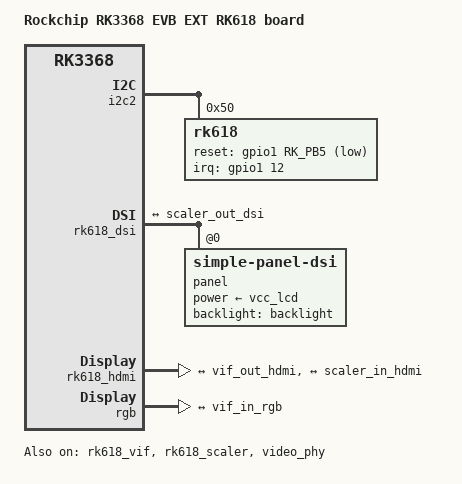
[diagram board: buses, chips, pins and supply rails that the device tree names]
// SPDX-License-Identifier: (GPL-2.0+ OR MIT)
/*
 * Copyright (c) 2019 Fuzhou Rockchip Electronics Co., Ltd
 */

/dts-v1/;
#include "rk3368-808.dtsi"

/ {
	model = "Rockchip RK3368 EVB EXT RK618 board";
	compatible = "rockchip,rk3368-evb-ext-rk618-avb", "rockchip,rk3368";
};

&firmware_android {
	compatible = "android,firmware";
	boot_devices = "ff0f0000.dwmmc,ff400000.nandc";

	vbmeta {
		compatible = "android,vbmeta";
		parts = "vbmeta,dtbo";
	};

	fstab {
		compatible = "android,fstab";

		vendor {
			compatible = "android,vendor";
			dev = "/dev/block/by-name/vendor";
			type = "ext4";
			mnt_flags = "ro,barrier=1,inode_readahead_blks=8";
			fsmgr_flags = "wait,avb";
		};
	};
};

&chosen {
	bootargs = "earlyprintk=uart8250,mmio32,0xff690000 swiotlb=1 console=ttyFIQ0 androidboot.baseband=N/A androidboot.veritymode=enforcing androidboot.hardware=rk30board androidboot.console=ttyFIQ0 androidboot.selinux=permissive init=/init kpti=0";
};

&i2c2 {
	status = "okay";

	rk618: rk618@50 {
		reg = <0x50>;
		interrupt-parent = <&gpio1>;
		interrupts = <12 IRQ_TYPE_LEVEL_HIGH>;
		pinctrl-names = "default";
		pinctrl-0 = <&i2s_8ch_mclk>;
		assigned-clocks = <&cru SCLK_I2S_8CH_OUT>;
		assigned-clock-rates = <11289600>;
		reset-gpios = <&gpio1 RK_PB5 GPIO_ACTIVE_LOW>;
		status = "okay";
	};
};

#include <arm/rk618.dtsi>

&rk618_clkin {
	clocks = <&cru SCLK_I2S_8CH_OUT>;
};

&rk618_lcdc0_dclkp {
	clocks = <&cru DCLK_VOP>;
};

&rk618_dsi {
	status = "okay";

	panel@0 {
		compatible = "simple-panel-dsi";
		reg = <0>;
		backlight = <&backlight>;
		power-supply = <&vcc_lcd>;
		prepare-delay-ms = <120>;
		enable-delay-ms = <120>;
		disable-delay-ms = <120>;
		unprepare-delay-ms = <120>;

		dsi,flags = <(MIPI_DSI_MODE_VIDEO |
			      MIPI_DSI_MODE_VIDEO_BURST |
			      MIPI_DSI_MODE_LPM |
			      MIPI_DSI_MODE_EOT_PACKET)>;
		dsi,format = <MIPI_DSI_FMT_RGB888>;
		dsi,lanes = <4>;

		display-timings {
			native-mode = <&timing>;

			timing: timing {
				clock-frequency = <160000000>;
				hactive = <1200>;
				vactive = <1920>;
				hback-porch = <60>;
				hfront-porch = <80>;
				vback-porch = <25>;
				vfront-porch = <35>;
				hsync-len = <1>;
				vsync-len = <1>;
				hsync-active = <0>;
				vsync-active = <0>;
				de-active = <0>;
				pixelclk-active = <0>;
			};
		};
	};

	ports {
		#address-cells = <1>;
		#size-cells = <0>;

		port@0 {
			reg = <0>;

			dsi_in_scaler: endpoint {
				remote-endpoint = <&scaler_out_dsi>;
			};
		};
	};
};

&rk618_vif {
	status = "okay";

	ports {
		#address-cells = <1>;
		#size-cells = <0>;

		port@0 {
			reg = <0>;

			vif_in_rgb: endpoint {
				remote-endpoint = <&rgb_out_vif>;
			};
		};

		port@1 {
			reg = <1>;

			vif_out_hdmi: endpoint {
				remote-endpoint = <&hdmi_in_vif>;
			};
		};
	};
};

&rk618_hdmi {
	status = "okay";

	ports {
		#address-cells = <1>;
		#size-cells = <0>;

		port@0 {
			reg = <0>;

			hdmi_in_vif: endpoint {
				remote-endpoint = <&vif_out_hdmi>;
			};
		};

		port@1 {
			reg = <1>;

			hdmi_out_scaler: endpoint {
				remote-endpoint = <&scaler_in_hdmi>;
			};
		};
	};
};

&rk618_scaler {
	status = "okay";

	ports {
		#address-cells = <1>;
		#size-cells = <0>;

		port@0 {
			reg = <0>;

			scaler_in_hdmi: endpoint {
				remote-endpoint = <&hdmi_out_scaler>;
			};
		};

		port@1 {
			reg = <1>;

			scaler_out_dsi: endpoint {
				remote-endpoint = <&dsi_in_scaler>;
			};
		};
	};
};

&io_domains {
	dvp-supply = <&vcca_33>;
};

&dsi {
	status = "disabled";
};

&hdmi {
	status = "disabled";
};

&isp {
	status = "disabled";
};

&rk_modem {
	status = "disabled";
};

&rgb {
	status = "okay";

	ports {
		port@1 {
			reg = <1>;

			rgb_out_vif: endpoint {
				remote-endpoint = <&vif_in_rgb>;
			};
		};
	};
};

&video_phy {
	status = "okay";
};

&route_rgb {
	status = "disabled";
};
